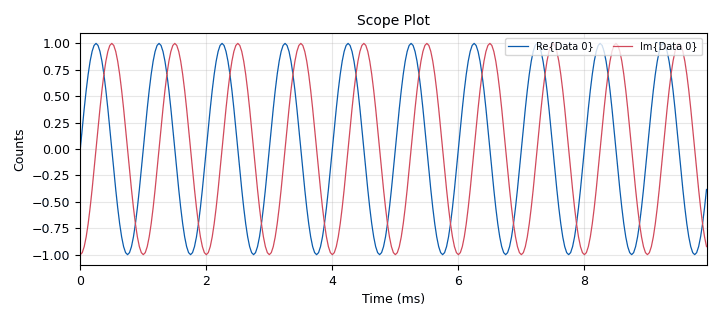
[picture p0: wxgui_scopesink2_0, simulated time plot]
<?xml version='1.0' encoding='utf-8'?>
<?grc format='1' created='3.7.9'?>
<flow_graph>
<block>
<key>options</key>
<param><key>id</key><value>top_block</value></param>
<param><key>category</key><value>Custom</value></param>
<param><key>generate_options</key><value>wx_gui</value></param>
</block>
<block>
<key>variable</key>
<param><key>id</key><value>samp_rate</value></param>
<param><key>value</key><value>32000</value></param>
</block>
<block>
<key>variable</key>
<param><key>id</key><value>tx_ip_rx</value></param>
<param><key>value</key><value>"192.168.10.2"</value></param>
</block>
<block>
<key>variable</key>
<param><key>id</key><value>tx_signal_dat</value></param>
<param><key>value</key><value>"/home/uone/gr-backchannel/build/apps/waveform.dat"</value></param>
</block>
<block>
<key>analog_sig_source_x</key>
<param><key>id</key><value>analog_sig_source_x_0</value></param>
<param><key>amp</key><value>1</value></param>
<param><key>freq</key><value>1000</value></param>
<param><key>offset</key><value>0</value></param>
<param><key>type</key><value>complex</value></param>
<param><key>samp_rate</key><value>samp_rate</value></param>
<param><key>waveform</key><value>analog.GR_COS_WAVE</value></param>
</block>
<block>
<key>blocks_file_source</key>
<param><key>id</key><value>blocks_file_source_0</value></param>
<param><key>_enabled</key><value>0</value></param>
<param><key>file</key><value>tx_signal_dat</value></param>
<param><key>type</key><value>complex</value></param>
<param><key>repeat</key><value>True</value></param>
</block>
<block>
<key>uhd_usrp_sink</key>
<param><key>id</key><value>uhd_usrp_sink_0</value></param>
<param><key>ant0</key><value>TX/RX</value></param>
<param><key>bw0</key><value>1e5</value></param>
<param><key>center_freq0</key><value>1e9</value></param>
<param><key>norm_gain0</key><value>False</value></param>
<param><key>gain0</key><value>30</value></param>
<param><key>clock_rate</key><value>0.0</value></param>
<param><key>dev_addr</key><value>"192.168.10.2"</value></param>
<param><key>dev_args</key><value>"tx-args"</value></param>
<param><key>type</key><value>fc32</value></param>
<param><key>clock_source0</key><value>internal</value></param>
<param><key>samp_rate</key><value>samp_rate</value></param>
<param><key>hide_cmd_port</key><value>False</value></param>
<param><key>stream_args</key><value>peak=0.003906</value></param>
<param><key>sync</key><value></value></param>
<param><key>len_tag_name</key><value></value></param>
</block>
<block>
<key>wxgui_scopesink2</key>
<param><key>id</key><value>wxgui_scopesink2_0</value></param>
<param><key>ac_couple</key><value>False</value></param>
<param><key>num_inputs</key><value>1</value></param>
<param><key>samp_rate</key><value>samp_rate</value></param>
<param><key>t_scale</key><value>0</value></param>
<param><key>title</key><value>Scope Plot</value></param>
<param><key>trig_mode</key><value>wxgui.TRIG_MODE_AUTO</value></param>
<param><key>type</key><value>complex</value></param>
<param><key>v_offset</key><value>0</value></param>
<param><key>v_scale</key><value>0</value></param>
<param><key>xy_mode</key><value>False</value></param>
<param><key>y_axis_label</key><value>Counts</value></param>
</block>
<connection><source_block_id>analog_sig_source_x_0</source_block_id><sink_block_id>uhd_usrp_sink_0</sink_block_id><source_key>0</source_key><sink_key>0</sink_key></connection>
<connection><source_block_id>analog_sig_source_x_0</source_block_id><sink_block_id>wxgui_scopesink2_0</sink_block_id><source_key>0</source_key><sink_key>0</sink_key></connection>
<connection><source_block_id>blocks_file_source_0</source_block_id><sink_block_id>wxgui_scopesink2_0</sink_block_id><source_key>0</source_key><sink_key>0</sink_key></connection>
</flow_graph>
